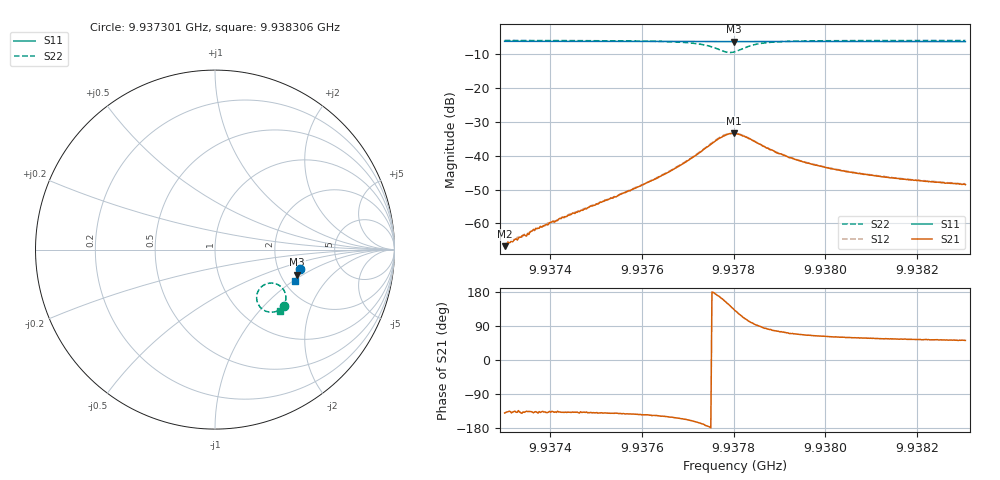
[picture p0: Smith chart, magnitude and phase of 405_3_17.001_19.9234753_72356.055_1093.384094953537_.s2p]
#  HZ  S  RI  R  50.00
! Rohde & Schwarz Vector Network Analyzer
! Rohde-Schwarz,ZNB20-2Port,1311601062101988,3.16
! Created: UTC 3/20/2024, 11:10:13 PM
! freq[Hz]  re:S11  im:S11  re:S21  im:S21  re:S12  im:S12  re:S22  im:S22
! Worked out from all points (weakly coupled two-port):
!   401 points, 9.937301 GHz to 9.938306 GHz, reference 50 ohm
!   highest |S21| = -33.46 dB at 9.937801 GHz (marker M1); lowest = -66.7 dB at 9.937301 GHz (marker M2)
!   lowest |S11| = -6.4 dB at 9.937801 GHz (marker M3), VSWR 2.84, Z = 123 - j44.6 ohm
!   |S11| at or under -10 dB: nowhere
!   |S22| runs from -9.6 to -6.1 dB; largest |S21 - S12| = 0.0009
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9.9373007e9  0.4712 -0.1085  -0.000353 -0.000298  -0.000372 -0.000314  0.384 -0.3167
9.9373384e9  0.4703 -0.111  -0.000506 -0.000415  -0.000472 -0.000412  0.3812 -0.3194
9.937351e9  0.4703 -0.1118  -0.000507 -0.000492  -0.000546 -0.00046  0.3801 -0.3203
9.937366e9  0.4698 -0.1129  -0.000586 -0.000542  -0.000585 -0.000522  0.3788 -0.3216
9.9374691e9  0.4676 -0.1198  -0.00116 -0.00103  -0.0012 -0.00101  0.369 -0.3297
9.9375771e9  0.4652 -0.1269  -0.00249 -0.00191  -0.00254 -0.00187  0.3524 -0.3401
9.9376374e9  0.4637 -0.131  -0.0041 -0.00262  -0.00414 -0.00259  0.3362 -0.3463
9.9376901e9  0.4622 -0.1345  -0.00695 -0.00315  -0.00714 -0.00311  0.3097 -0.3491
9.9377379e9  0.4604 -0.1377  -0.0126 -0.00171  -0.0129 -0.00159  0.2651 -0.3331
9.937758e9  0.4594 -0.1388  -0.0159 0.000873  -0.0162 0.00153  0.2413 -0.3056
9.9377756e9  0.4587 -0.1394  -0.018 0.00604  -0.0182 0.00691  0.2322 -0.2627
9.9377881e9  0.4583 -0.1396  -0.0175 0.011  -0.0174 0.0117  0.2436 -0.2258
9.9378007e9  0.4581 -0.1397  -0.0146 0.0154  -0.0144 0.016  0.2724 -0.1971
9.9378032e9  0.4583 -0.1399  -0.0138 0.0162  -0.0135 0.0166  0.2797 -0.1936
9.9378308e9  0.4587 -0.1412  -0.00454 0.0176  -0.00409 0.0181  0.3528 -0.1964
9.9378585e9  0.4585 -0.1433  0.0004 0.0146  0.00075 0.0146  0.3856 -0.2297
9.9378961e9  0.4581 -0.146  0.00262 0.0106  0.00294 0.0107  0.3952 -0.2647
9.9379363e9  0.4571 -0.1489  0.00315 0.00811  0.0034 0.00815  0.3932 -0.2868
9.9379715e9  0.4563 -0.1514  0.00321 0.00672  0.00335 0.00677  0.3896 -0.2994
9.9380469e9  0.4543 -0.1564  0.00295 0.005  0.00308 0.00502  0.3814 -0.3158
9.9381398e9  0.452 -0.1626  0.00269 0.00391  0.00276 0.00393  0.373 -0.3281
9.9383057e9  0.4472 -0.1731  0.00232 0.00293  0.00241 0.00299  0.3606 -0.3424
